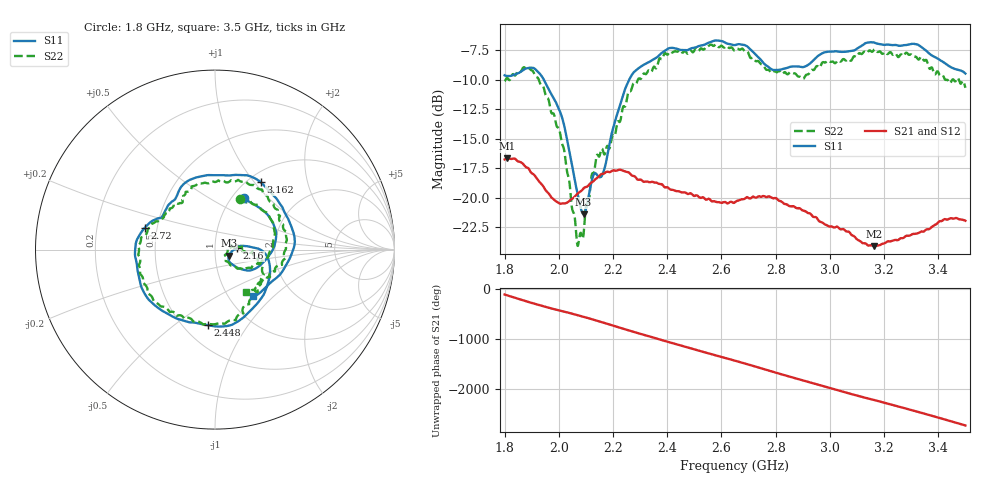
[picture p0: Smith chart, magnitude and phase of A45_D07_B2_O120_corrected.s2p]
! Created with skrf 1.9.0 (http://scikit-rf.org).
# Hz S RI R 50.0
!freq ReS11 ImS11 ReS21 ImS21 ReS12 ImS12 ReS22 ImS22
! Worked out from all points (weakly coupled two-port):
!   1601 points, 1.8 GHz to 3.5 GHz, reference 50 ohm
!   highest |S21| = -16.66 dB at 1.811 GHz (marker M1); lowest = -24.1 dB at 3.164 GHz (marker M2)
!   lowest |S11| = -21.4 dB at 2.091 GHz (marker M3), VSWR 1.19, Z = 58.3 - j3.93 ohm
!   |S11| at or under -10 dB: 1.945 GHz to 2.26 GHz (315.3 MHz wide, 15 % of centre)
!   |S22| runs from -24.1 to -7.0 dB; largest |S21 - S12| = 0.0027
!   S11 on the Smith chart (normalised r, x): 1.8 GHz: 1.13, +0.73; 2.16 GHz: 1.28, +0.03; 2.448 GHz: 0.65, -0.67; 2.72 GHz: 0.43, +0.12; 3.162 GHz: 1.14, +1.08; 3.5 GHz: 1.29, -0.75
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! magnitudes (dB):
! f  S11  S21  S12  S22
! 1.8 GHz  -9.6  -16.8  -16.8  -10.1
! 1.811 GHz  -9.7  -16.7  -16.7  -9.9
! 1.883 GHz  -9.0  -17.5  -17.5  -9.0
! 1.941 GHz  -9.9  -19.0  -19.0  -10.5
! 2.013 GHz  -13.3  -20.5  -20.5  -15.5
! 2.067 GHz  -19.4  -19.7  -19.7  -23.8
! 2.084 GHz  -21.1  -19.4  -19.4  -23.1
! 2.091 GHz  -21.4  -19.2  -19.3  -23.2
! 2.127 GHz  -18.1  -18.6  -18.6  -17.9
! 2.16 GHz  -18.1  -18.0  -17.9  -15.9
! 2.256 GHz  -10.2  -17.8  -17.8  -11.1
! 2.367 GHz  -8.0  -18.8  -18.8  -8.5
! 2.448 GHz  -7.5  -19.5  -19.5  -7.5
! 2.65 GHz  -7.1  -20.4  -20.4  -7.5
! 2.72 GHz  -7.7  -19.9  -19.9  -8.3
! 2.793 GHz  -9.2  -20.0  -20.0  -9.3
! 2.934 GHz  -8.5  -21.5  -21.5  -9.2
! 3.162 GHz  -6.9  -24.1  -24.0  -7.5
! 3.164 GHz  -6.9  -24.1  -24.1  -7.4
! 3.217 GHz  -7.0  -23.7  -23.7  -7.8
! 3.323 GHz  -7.0  -23.0  -23.0  -8.2
! 3.5 GHz  -9.5  -21.9  -21.9  -10.7
